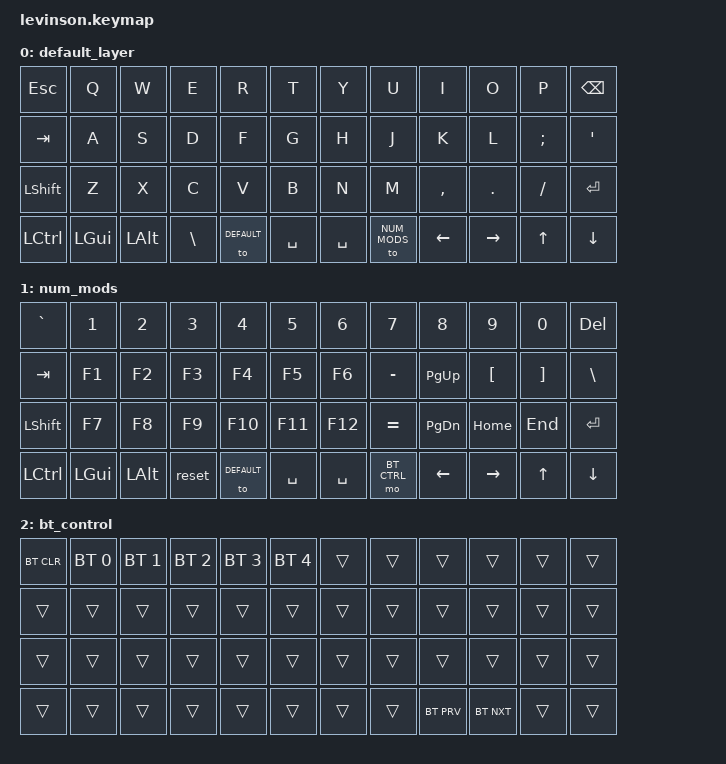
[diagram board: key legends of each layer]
/*
 * Copyright (c) 2021 The ZMK Contributors
 *
 * SPDX-License-Identifier: MIT
 */

#include <behaviors.dtsi>
#include <dt-bindings/zmk/outputs.h>
#include <dt-bindings/zmk/rgb.h>
#include <dt-bindings/zmk/keys.h>
#include <dt-bindings/zmk/bt.h>

#define DEFAULT  0
#define NUM_MODS 1
#define BT_CTRL  2

/ {
    keymap {
        compatible = "zmk,keymap";

        default_layer {
// --------------------------------------------------------------------------------------------------------------------------------------------------------------------
// |   ESC   |    Q    |    W    |    E    |    R    |    T    |    Y    |    U    |    I    |    O    |    P    |    \    |
// |   TAB   |    A    |    S    |    D    |    F    |    G    |    H    |    J    |    K    |    L    |    ;    |    '    |
// |  SHIFT  |    Z    |    X    |    C    |    V    |    B    |    N    |    M    |    ,    |    .    |    /    |  ENTER  |
// |  CTRL   |    GUI  |    ALT  |    \    |    LOWER|    SPACE          |    RAISE|    LEFT |  RIGHT  |   UP    |  DOWN   |
            bindings = <
    &kp ESC   &kp Q     &kp W    &kp E     &kp R     &kp T      &kp Y     &kp U     &kp I     &kp O     &kp P    &kp BSPC
    &kp TAB   &kp A     &kp S    &kp D     &kp F     &kp G      &kp H     &kp J     &kp K     &kp L     &kp SEMI &kp SQT
    &kp LSHFT &kp Z     &kp X    &kp C     &kp V     &kp B      &kp N     &kp M     &kp COMMA &kp DOT   &kp FSLH &kp ENTER
    &kp LCTRL &kp LGUI  &kp LALT &kp BSLH  &to DEFAULT &kp SPACE &kp SPACE &to NUM_MODS &kp LEFT &kp RIGHT &kp UP &kp DOWN
            >;
        };

        num_mods {
// --------------------------------------------------------------------------------------------------------------------------------------------------------------------
// |   `     |    1    |    2    |    3    |    4    |    5    |    6    |    7    |    8    |    9    |    0    |    DEL  |
// |   TAB   |    F1   |   F2    |   F3    |   F4    |   F5    |   F6    |    -    |   PG_UP |    [    |    ]    |    \    |
// |  SHIFT  |    F7   |   F8    |   F9    |   F10   |   F11   |   F12   |    =    |  PG_DOWN|  HOME   |   END   |  ENTER  |
// |  CTRL   |    GUI  |    ALT  |  RESET  |    LOWER|    SPACE          |    RAISE|    LEFT |  RIGHT  |   UP    |  DOWN   |
            bindings = <
    &kp GRAVE &kp N1    &kp N2   &kp N3    &kp N4    &kp N5     &kp N6    &kp N7    &kp N8    &kp N9    &kp N0   &kp DEL
    &kp TAB   &kp F1    &kp F2   &kp F3    &kp F4    &kp F5     &kp F6    &kp MINUS &kp PG_UP &kp LBKT  &kp RBKT &kp BSLH
    &kp LSHFT &kp F7    &kp F8   &kp F9    &kp F10   &kp F11    &kp F12   &kp EQUAL &kp PG_DN &kp HOME  &kp END  &kp ENTER
    &kp LCTRL &kp LGUI  &kp LALT &reset  &to DEFAULT &kp SPACE  &kp SPACE &mo BT_CTRL &kp LEFT &kp RIGHT &kp UP   &kp DOWN
            >;
        };

        bt_control {
            bindings = <
    &bt BT_CLR &bt BT_SEL 0 &bt BT_SEL 1 &bt BT_SEL 2 &bt BT_SEL 3 &bt BT_SEL 4 &trans    &trans    &trans    &trans    &trans   &trans
    &trans    &trans    &trans   &trans    &trans    &trans     &trans    &trans    &trans    &trans    &trans   &trans
    &trans    &trans    &trans   &trans    &trans    &trans     &trans    &trans    &trans    &trans    &trans   &trans
    &trans    &trans    &trans   &trans    &trans    &trans     &trans    &trans    &bt BT_PRV &bt BT_NXT &trans   &trans
            >;
        };
    };
};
